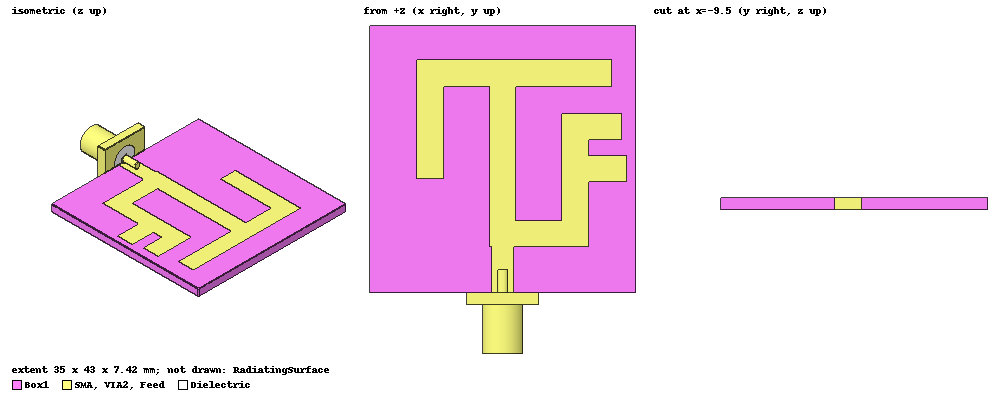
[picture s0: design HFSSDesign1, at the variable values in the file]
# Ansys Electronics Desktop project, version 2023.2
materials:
  vacuum: permittivity=1
  FR4_epoxy: permittivity=4.4 dielectric_loss_tangent=0.02
  Teflon (tm): permittivity=2.1 dielectric_loss_tangent=0.001
  brass: conductivity=15000000
  copper: permeability=0.999991 conductivity=58000000

design HFSSDesign1 (HFSS, HFSS Modal Network, model units mm)
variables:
  SubLen = 35mm
  SubHi = 1.6mm
  SubWidth = 35mm
  PIFA1_LEN = 14mm
  PIFA2_FL = 21mm
  XX = 0mm
  PIFA2_Width = 3.5mm
  PIFA2_SEP = 6mm
  PIFA2_SL = 12mm
  PIFA1_FL = 4.37mm
  PIFA1_SEP = 2mm
  FeedLen = 6mm
  PIFA1_SL = 5mm
  PIFA1_OFF = 6mm
  FeedWidth = 3mm
  PIFA2_RAD = 16mm
  PIFA1_width = 3.5mm
  ViaR1 = 0.5*PIFA1_width
  ViaR2 = 0.5*PIFA2_Width
  h = 1.6mm
  Inner_length = 3mm
  SRRslot = 0.5mm
  SRRinnerRad = 0.5mm
  SRRpos = 3mm
  SRRThick = 0.5mm
  StubWidth = 15mm
  StubLen = 5.8mm
  GndLen = 20mm
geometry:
  Box1 [FR4_epoxy] = box(corner=(-0.5*SubWidth, 0mm, 0mm), size=(SubWidth, SubLen, SubHi))
  Feed = rectangle(corner=(-0.5*FeedWidth, 0mm, SubHi), x_size=FeedWidth, y_size=FeedLen)
  IF1_F = rectangle(corner=(0.5*PIFA2_Width-XX+PIFA1_OFF+PIFA1_width, FeedLen+PIFA1_LEN, SubHi), x_size=PIFA1_FL, y_size=PIFA1_width)
  IFOFF1 = rectangle(corner=(0.5*PIFA2_width, FeedLen, SubHi), x_size=PIFA1_OFF+PIFA1_width, y_size=PIFA1_width)
  IFSL1 = rectangle(corner=(0.5*PIFA2_Width-XX+PIFA1_OFF+PIFA1_width, FeedLen+PIFA1_LEN-PIFA1_SEP-PIFA1_width, SubHi), x_size=PIFA1_SL, y_size=PIFA1_width)
  INFRad1 = rectangle(corner=(0.5*PIFA2_Width-XX+PIFA1_OFF, FeedLen+PIFA1_width, SubHi), x_size=PIFA1_width, y_size=PIFA1_LEN)
  IF1_F.unite(IFOFF1, IFSL1, INFRad1)
  IF2_Feed = rectangle(corner=(-0.5*PIFA2_Width, FeedLen, SubHi), x_size=PIFA2_Width, y_size=PIFA2_FL)
  IF2_Mat = rectangle(corner=(-0.5*PIFA2_Width-PIFA2_Width-PIFA2_SEP, FeedLen+PIFA2_FL, SubHi), x_size=PIFA2_SEP+PIFA2_Width, y_size=PIFA2_Width)
  IF2_Rad = rectangle(corner=(-0.5*PIFA2_Width, FeedLen+PIFA2_FL, SubHi), x_size=PIFA2_RAD, y_size=PIFA2_Width)
  IF2_Sho = rectangle(corner=(-0.5*PIFA2_Width-PIFA2_SEP-PIFA2_Width, FeedLen+PIFA2_FL-PIFA2_SL, SubHi), x_size=PIFA2_Width, y_size=PIFA2_SL)
  IF2_Feed.unite(IF2_Mat, IF2_Rad, IF2_Sho)
  Feed.unite(IF1_F, IF2_Feed)
  VIA1 [copper] = cylinder(axis=Z, base_centre=(0.5*FeedWidth-XX+PIFA1_OFF+PIFA1_width+PIFA1_SL-ViaR1, FeedLen+PIFA1_LEN-PIFA1_width-PIFA1_SEP+ViaR1, 0), radius=1.4142136mm, height=SubHi)
  VIA2 [copper] = cylinder(axis=Z, base_centre=(-PIFA2_Width-PIFA2_SEP, FeedLen+PIFA2_FL-PIFA2_SL+0.5*PIFA2_Width, 0mm), radius=ViaR2, height=SubHi)
  Dielectric [Teflon (tm)] = cylinder(axis=Y, base_centre=(0mm, 0mm, h+0.63mm), radius=2.43mm, height=-6mm)
  Dielectric_1 = Dielectric.copy()
  Inner = cylinder(axis=Y, base_centre=(0, Inner_length, h+0.63mm), radius=0.63mm, height=-6mm-Inner_length)
  Inner_1 = Inner.copy()
  Dielectric.subtract(Inner_1)
  Dielectric_2 = Dielectric.copy()
  SMA [brass] = box(corner=(-4.76mm, 0mm, -1.08mm), size=(9.52mm, -1.64mm, 7.42mm))
  Inner_2 = Inner.copy()
  SMA.subtract(Dielectric_2, Inner_2)
  Box3 = box(corner=(4.76mm, 0mm, -1.08mm), size=(-1.02mm, 5mm, 1.08mm))
  Box2 = box(corner=(-4.76mm, 0mm, -1.08mm), size=(1.02mm, 5mm, 1.08mm))
  SMA.unite(Box3, Box2)
  Outer = cylinder(axis=Y, base_centre=(0mm, 0mm, h+0.63mm), radius=2.61mm, height=-8mm)
  Outer.subtract(Dielectric_1)
  Outer1 = cylinder(axis=Y, base_centre=(0mm, 0mm, h+0.63mm), radius=2.43mm, height=-8mm)
  Dielectric1 = cylinder(axis=Y, base_centre=(0mm, 0mm, h+0.63mm), radius=2.43mm, height=-6mm)
  Dielectric_3 = Dielectric1.copy()
  Outer1.subtract(Dielectric_3)
  Outer.subtract(Outer1)
  SMA.unite(Outer, Inner)
  Dielectric1.delete()
  RadiatingSurface [vacuum] = region(absolute_offset=21.276596mm on all sides)
  SRRouter2 = circle(normal=Z, centre=(0mm, GndLen+SRRpos, 0mm), radius=SRRslot+SRRThick+SRRinnerRad+SRRThick)
  SRRinner2 = circle(normal=Z, centre=(0mm, GndLen+SRRpos, 0mm), radius=SRRslot+SRRThick+SRRinnerRad)
  SRRouter2.subtract(SRRinner2)
  SRRouter = circle(normal=Z, centre=(0mm, GndLen+SRRpos, 0mm), radius=SRRinnerRad+SRRThick)
  SRRinner = circle(normal=Z, centre=(0mm, GndLen+SRRpos, 0mm), radius=SRRinnerRad)
  SRRouter.subtract(SRRinner)
  SRRouter2.unite(SRRouter)
  Gnd = rectangle(corner=(-0.5*SubWidth, 0mm, 0mm), x_size=SubWidth, y_size=GndLen)
  SRRouter2.unite(Gnd)
  SRRouter3 = circle(normal=Z, centre=(0mm, GndLen+SRRpos, 0mm), radius=2*SRRslot+SRRThick+SRRinnerRad+2*SRRThick)
  SRRinner3 = circle(normal=Z, centre=(0mm, GndLen+SRRpos, 0mm), radius=2*SRRslot+SRRThick+SRRinnerRad+SRRThick)
  SRRouter3.subtract(SRRinner3)
  Rectangle2 = rectangle(corner=(-0.5*SubWidth, GndLen, 0mm), x_size=StubWidth, y_size=StubLen)
  SRRouter2.unite(SRRouter3, Rectangle2)
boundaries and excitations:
  FiniteCond2: Finite Conductivity Objects=Feed Conductivity=58000000 Permeability=1 IsInternal
  SMA: Finite Conductivity Objects=SMA Conductivity=15000000 Permeability=1 IsInternal
  Open1: Radiation Objects=RadiatingSurface
  FiniteCond3: Finite Conductivity Objects=SRRouter2 Conductivity=58000000 Permeability=1 IsInternal
  1: Lumped Port Faces=Dielectric.face(-y end) LumpedPortType=Modal Modes{Mode1{IntLine{(0, -6, -0.2) -> (0, -6, 1.6)} CharImp=Zpi RenormImp=50ohm}} Impedance=50ohm
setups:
  Setup1: HfssDriven Frequency=4.7GHz MaxDeltaS=0.02 MaximumPasses=10 MinimumPasses=1 MinimumConvergedPasses=1 PercentRefinement=30 BasisOrder=1 PortAccuracy=2 DrivenSolverType="Direct Solver"
    sweep Sweep: 2GHz to 8GHz, 201 points; Type=Interpolating SaveFields InterpTolerance=0.5 InterpMaxSolns=250 InterpUsePortImped=false PassivityErrorTolerance=0.0001
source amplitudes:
  1:1: 1W 0deg
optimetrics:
  ParametricSetup1: Parametric Sim._Setups=[Setup1]
    sweep PIFA1_SEP: LIN 1mm 3mm 1mm
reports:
  S Parameter Plot 1: dB(S(1,1)) vs Freq on Setup1 : Sweep; markers m1 at 2.39GHz, m2 at 3.68GHz, m3 at 4.7GHz, m4 at 5.81GHz, MY1 at y=-9.96016
  S Parameter Plot 2: dB(S(1,1)) vs Freq on Setup1 : Sweep [PIFA1_OFF=5.8mm]
  S Parameter Plot 3: dB(S(1,1)) vs Freq on Setup1 : Sweep [PIFA1_OFF=all]; markers m1 at 5.84GHz, m2 at 4.7GHz, m3 at 3.71GHz, m4 at 2.39GHz
  S Parameter Plot 4: dB(S(1,1)) vs Freq on Setup1 : Sweep [PIFA1_OFF=all]; markers m1 at 2.39GHz, m2 at 3.68GHz, m3 at 4.7GHz, m4 at 5.81GHz, MY1 at y=-5.0519
  S Parameter Plot 5: dB(S(1,1)) vs Freq on Setup1 : Sweep [PIFA1_OFF=all]
  S Parameter Plot 6: dB(S(1,1)) vs Freq on Setup1 : Sweep [PIFA1_OFF=6mm]; markers m1 at 2.39GHz, m2 at 3.68GHz, m3 at 5.81GHz, m4 at 4.7GHz, MY1 at y=-4.97268
